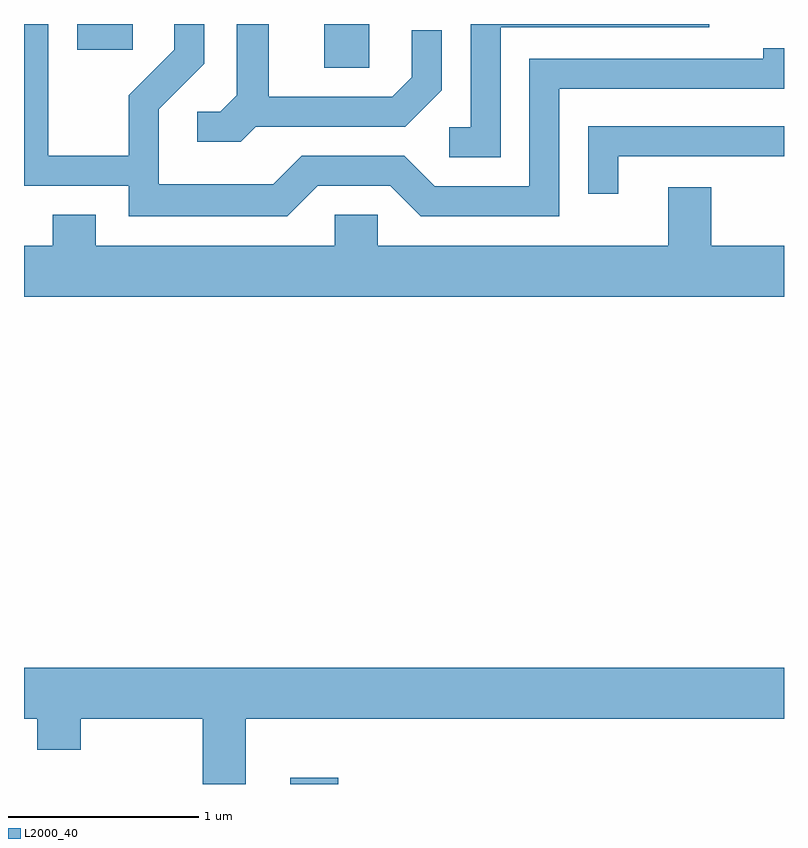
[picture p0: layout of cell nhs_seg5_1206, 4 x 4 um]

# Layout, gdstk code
import gdstk
lib = gdstk.Library(unit=1e-6, precision=1e-09)
def R(c, l, rs):  # rectangles x0, y0, x1, y1
    for r in rs: c.add(gdstk.rectangle(r[:2], r[2:], *l))
def P(c, l, *ps):  # polygons
    for p in ps: c.add(gdstk.Polygon(p, *l))
L2000_40 = (2000, 40)

nhs_seg5_1206 = lib.new_cell('nhs_seg5_1206')
R(nhs_seg5_1206, L2000_40, [(223.011,1392.072,223.264,1392.104), (223.191,1395.841,223.429,1396.072), (221.891,1395.936,222.184,1396.072)])
P(nhs_seg5_1206, L2000_40, [(222.832,1395.531),(223.617,1395.531),(223.809,1395.724),(223.809,1396.038),(223.651,1396.038),(223.651,1395.792),(223.549,1395.689),(222.899,1395.689),(222.899,1396.072),(222.731,1396.072),(222.731,1395.697),(222.644,1395.609),(222.523,1395.609),(222.523,1395.451),(222.752,1395.451)],
  [(224.119,1396.056),(225.218,1396.056),(225.218,1396.072),(223.961,1396.072),(223.961,1395.529),(223.848,1395.529),(223.848,1395.371),(224.119,1395.371)],
  [(223.157,1395.221),(223.539,1395.221),(223.699,1395.061),(224.429,1395.061),(224.429,1395.731),(225.611,1395.731),(225.611,1395.944),(225.501,1395.944),(225.501,1395.889),(224.271,1395.889),(224.271,1395.219),(223.772,1395.219),(223.612,1395.379),(223.074,1395.379),(222.924,1395.229),(222.319,1395.229),(222.319,1395.624),(222.559,1395.864),(222.559,1396.072),(222.401,1396.072),(222.401,1395.937),(222.161,1395.697),(222.161,1395.379),(221.739,1395.379),(221.739,1396.072),(221.611,1396.072),(221.611,1395.221),(222.161,1395.221),(222.161,1395.061),(222.997,1395.061)],
  [(224.739,1395.376),(225.611,1395.376),(225.611,1395.534),(224.581,1395.534),(224.581,1395.178),(224.739,1395.178)],
  [(225.611,1394.904),(225.229,1394.904),(225.229,1395.214),(225.001,1395.214),(225.001,1394.904),(223.474,1394.904),(223.474,1395.069),(223.246,1395.069),(223.246,1394.904),(221.989,1394.904),(221.989,1395.069),(221.761,1395.069),(221.761,1394.904),(221.611,1394.904),(221.611,1394.636),(225.611,1394.636)],
  [(222.779,1392.416),(225.611,1392.416),(225.611,1392.684),(221.611,1392.684),(221.611,1392.416),(221.681,1392.416),(221.681,1392.251),(221.909,1392.251),(221.909,1392.416),(222.551,1392.416),(222.551,1392.072),(222.779,1392.072)])

lib.write_gds('nhs_seg5_1206.gds')
